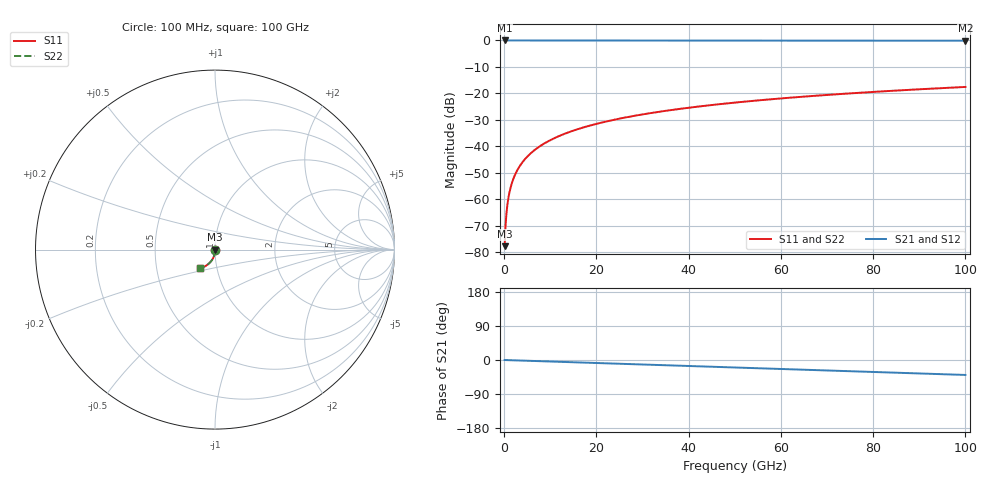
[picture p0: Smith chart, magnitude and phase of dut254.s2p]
! Touchstone file exported from HFSS 2026.1.0
!  File:  C:/ffzhzh/LocalFiles/Ansys_Project_Files/temp_train_TSV_254_1783508386_41296.aedt
!  Generated:  07:00:57 PM Jul  8, 2026
!  Design:  TSV
!  Project:  temp_train_TSV_254_1783508386_41296
! Variables:
!  h_bsmrdl = 2um
!  h_ox = 20um
!  h_rdl = 5um
!  h_sub = 79.37um
!  h_tmrdl = 5um
!  h_tsv = 79.37um
!  h_via = 3um
!  l_bsmrdl = 300um
!  l_sub = 424.92um
!  l_tmrdl = 200um
!  m_sub = 200um
!  pitch = 41.67um
!  r_tsv = 12.46um
!  s_tmrdl = 10um
!  w_bsmrdl = 18um
!  w_sub = 500um
!  w_tmrdl = 12um
!  x_tsv_center1 = 206um
!  x_tsv_center2 = 524um
!  x_tsv_center3 = 736um
!  x_tsv_center4 = 1054um
!  x_tsv_center5 = 1266um
!  x_tsv_center6 = 1584um
# GHz S MA R 50.000000
! Terminal data exported
! Port[1] = TSV1_1_T1
! Port[2] = TSV1_1_T2
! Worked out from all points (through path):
!   1000 points, 100 MHz to 100 GHz, reference 50 ohm
!   highest |S21| = 0.00 dB at 100 MHz (marker M1); lowest = -0.1 dB at 100 GHz (marker M2)
!   group delay of S21, straight-line fit = 1.09 ps
!   lowest |S11| = -77.7 dB at 100 MHz (marker M3), VSWR 1.00, Z = 50 - j0.00892 ohm
!   |S11| at or under -10 dB: start of sweep to end of sweep
!   |S22| runs from -77.7 to -17.6 dB; largest |S21 - S12| = 4.4e-15
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0.1  0.0001299 -43.4  0.9999 -0.0  0.9999 -0.0  0.0001299 -43.4
! Gamma 0 0 0 0
! Port Impedance 50 0 50 0
0.4  0.0004234 -68.8  0.9998 -0.2  0.9998 -0.2  0.0004234 -68.8
0.7  0.0007831 -74.4  0.9998 -0.3  0.9998 -0.3  0.0007831 -74.4
0.8  0.0009077 -75.6  0.9998 -0.3  0.9998 -0.3  0.0009077 -75.6
1.1  0.001286 -78.3  0.9997 -0.4  0.9997 -0.4  0.001286 -78.3
1.4  0.001666 -80.1  0.9997 -0.6  0.9997 -0.6  0.001666 -80.1
1.8  0.002177 -81.8  0.9997 -0.7  0.9997 -0.7  0.002177 -81.8
2.4  0.00295 -83.3  0.9996 -1.0  0.9996 -1.0  0.00295 -83.3
3  0.003731 -84.4  0.9996 -1.2  0.9996 -1.2  0.003731 -84.4
3.8  0.004783 -85.5  0.9995 -1.5  0.9995 -1.5  0.004783 -85.5
4.8  0.006107 -86.6  0.9994 -1.9  0.9994 -1.9  0.006107 -86.6
5.9  0.00757 -87.6  0.9993 -2.4  0.9993 -2.4  0.00757 -87.6
8.7  0.01131 -89.6  0.9992 -3.5  0.9992 -3.5  0.01131 -89.6
12.3  0.01615 -91.6  0.999 -4.9  0.999 -4.9  0.01615 -91.6
16.8  0.02223 -93.9  0.9987 -6.7  0.9987 -6.7  0.02223 -93.9
24.2  0.03223 -97.3  0.9982 -9.6  0.9982 -9.6  0.03223 -97.3
33.4  0.04466 -101.3  0.9975 -13.2  0.9975 -13.2  0.04466 -101.3
41.2  0.05517 -104.6  0.9968 -16.3  0.9968 -16.3  0.05517 -104.6
50.1  0.06711 -108.2  0.9958 -19.8  0.9958 -19.8  0.06711 -108.2
66.7  0.08916 -115.0  0.9938 -26.3  0.9938 -26.3  0.08916 -115.0
83.4  0.111 -121.8  0.9912 -32.9  0.9912 -32.9  0.111 -121.8
100  0.1323 -128.5  0.9881 -39.5  0.9881 -39.5  0.1323 -128.5
